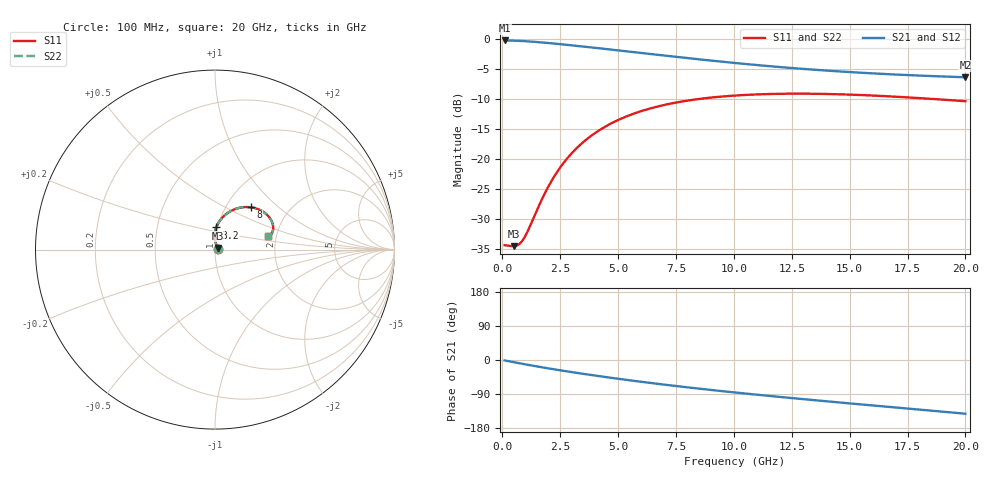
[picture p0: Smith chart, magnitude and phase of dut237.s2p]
! Created with skrf 1.9.0 (http://scikit-rf.org).
# GHz S RI R 50.0
!freq ReS11 ImS11 ReS21 ImS21 ReS12 ImS12 ReS22 ImS22
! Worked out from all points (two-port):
!   200 points, 100 MHz to 20 GHz, reference 50 ohm
!   highest |S21| = -0.17 dB at 100 MHz (marker M1); lowest = -6.3 dB at 20 GHz (marker M2)
!   |S21| within 3 dB of the highest: start of sweep to 8.147 GHz
!   lowest |S11| = -34.5 dB at 500 MHz (marker M3), VSWR 1.04, Z = 51.7 + j0.884 ohm
!   |S11| at or under -10 dB: start of sweep to 8.343 GHz; 18.9 GHz to end of sweep
!   |S22| runs from -34.5 to -9.0 dB; largest |S21 - S12| = 2.2e-15
!   S11 on the Smith chart (normalised r, x): 100 MHz: 1.04, +0.00; 3.2 GHz: 0.98, +0.25; 8 GHz: 1.30, +0.68; 20 GHz: 1.81, +0.30
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0.1  0.0193 0.00146  0.9803 -0.0199  0.9803 -0.0199  0.0193 0.00146
0.5  0.0169 0.00855  0.9719 -0.0993  0.9719 -0.0993  0.0169 0.00855
0.7  0.0147 0.0128  0.9637 -0.1377  0.9637 -0.1377  0.0147 0.0128
0.9  0.0121 0.0177  0.9532 -0.175  0.9532 -0.175  0.0121 0.0177
1.1  0.00925 0.0235  0.9405 -0.211  0.9405 -0.211  0.00925 0.0235
1.7  0.00126 0.0461  0.8922 -0.3093  0.8922 -0.3093  0.00126 0.0461
2.1  -0.00168 0.0649  0.8539 -0.3667  0.8539 -0.3667  -0.00168 0.0649
2.6  -0.00102 0.091  0.8015 -0.4294  0.8015 -0.4294  -0.00102 0.091
3.2  0.00687 0.1233  0.7347 -0.4926  0.7347 -0.4926  0.00687 0.1233
3.5  0.0136 0.139  0.7003 -0.5197  0.7003 -0.5197  0.0136 0.139
4.2  0.0353 0.1721  0.6191 -0.5725  0.6191 -0.5725  0.0353 0.1721
4.9  0.0631 0.1988  0.5381 -0.6119  0.5381 -0.6119  0.0631 0.1988
5.8  0.1036 0.2224  0.4365 -0.6455  0.4365 -0.6455  0.1036 0.2224
6.8  0.1496 0.2353  0.33 -0.6639  0.33 -0.6639  0.1496 0.2353
8  0.2004 0.2356  0.2138 -0.6656  0.2138 -0.6656  0.2004 0.2356
9  0.2364 0.2267  0.1276 -0.6545  0.1276 -0.6545  0.2364 0.2267
10.1  0.2684 0.2108  0.0438 -0.6333  0.0438 -0.6333  0.2684 0.2108
11.7  0.3008 0.1819  -0.06 -0.5919  -0.06 -0.5919  0.3008 0.1819
13.4  0.3192 0.1499  -0.1507 -0.5398  -0.1507 -0.5398  0.3192 0.1499
15  0.3245 0.1226  -0.2217 -0.4864  -0.2217 -0.4864  0.3245 0.1226
16.7  0.3206 0.0992  -0.2853 -0.4263  -0.2853 -0.4263  0.3206 0.0992
20  0.2964 0.0754  -0.3801 -0.2998  -0.3801 -0.2998  0.2964 0.0754
